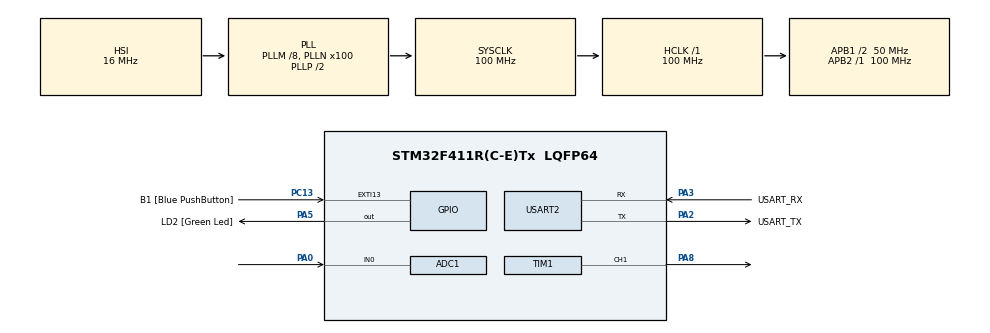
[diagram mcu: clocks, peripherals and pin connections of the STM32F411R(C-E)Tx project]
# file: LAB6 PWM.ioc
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Mcu.Family=STM32F4
PC15-OSC32_OUT.Mode=LSE-External-Oscillator
RCC.CortexFreq_Value=100000000
ADC1.Rank-0\#ChannelRegularConversion=1
PC13-ANTI_TAMP.GPIO_Label=B1 [Blue PushButton]
PA14.GPIO_Label=TCK
PH1\ -\ OSC_OUT.Mode=HSE-External-Clock-Source
TIM11.Prescaler=99
TIM1.Pulse-PWM\ Generation1\ CH1=5000
RCC.APB1CLKDivider=RCC_HCLK_DIV2
PC14-OSC32_IN.Signal=RCC_OSC32_IN
RCC.SYSCLKSource=RCC_SYSCLKSOURCE_PLLCLK
ProjectManager.StackSize=0x400
PA0-WKUP.Signal=ADCx_IN0
VP_TIM11_VS_ClockSourceINT.Mode=Enable_Timer
PA3.Mode=Asynchronous
PA13.Signal=SYS_JTMS-SWDIO
NVIC.ADC_IRQn=true\:0\:0\:false\:false\:true\:true\:true
PH0\ -\ OSC_IN.Mode=HSE-External-Clock-Source
SH.S_TIM1_CH1.0=TIM1_CH1,PWM Generation1 CH1
PH0\ -\ OSC_IN.Signal=RCC_OSC_IN
ProjectManager.TargetToolchain=STM32CubeIDE
RCC.HCLKFreq_Value=100000000
RCC.APB2TimFreq_Value=100000000
TIM3.Period=1000
PC15-OSC32_OUT.Signal=RCC_OSC32_OUT
RCC.AHBFreq_Value=100000000
PA5.Signal=GPIO_Output
ADC1.Channel-0\#ChannelRegularConversion=ADC_CHANNEL_0
NVIC.TIM1_TRG_COM_TIM11_IRQn=true\:0\:0\:false\:false\:true\:true\:true
RCC.HSE_VALUE=8000000
PH1\ -\ OSC_OUT.Signal=RCC_OSC_OUT
board=NUCLEO-F411RE
PC13-ANTI_TAMP.Signal=GPXTI13
RCC.VCOOutputFreq_Value=200000000
RCC.APB2Freq_Value=100000000
PC14-OSC32_IN.Mode=LSE-External-Oscillator
TIM1.Channel-PWM\ Generation1\ CH1=TIM_CHANNEL_1
PA14.Mode=Serial_Wire
TIM3.Prescaler=99
PA8.Signal=S_TIM1_CH1
SH.ADCx_IN0.0=ADC1_IN0,IN0
PA13.Mode=Serial_Wire
Mcu.Name=STM32F411R(C-E)Tx
VP_TIM1_VS_ClockSourceINT.Mode=Internal
ADC1.SamplingTime-0\#ChannelRegularConversion=ADC_SAMPLETIME_3CYCLES
PA2.Signal=USART2_TX
PA13.GPIO_Label=TMS
RCC.FLatency-AdvancedSettings=FLASH_LATENCY_3
RCC.48MHZClocksFreq_Value=50000000
PB3.Signal=SYS_JTDO-SWO
RCC.SYSCLKFreq_VALUE=100000000
Mcu.Package=LQFP64
ADC1.master=1
PA5.GPIO_Label=LD2 [Green Led]
USART2.VirtualMode=VM_ASYNC
PC13-ANTI_TAMP.GPIO_ModeDefaultEXTI=GPIO_MODE_IT_FALLING
PA2.GPIO_Label=USART_TX
PA14.Signal=SYS_JTCK-SWCLK
ProjectManager.HeapSize=0x200
RCC.HSI_VALUE=16000000
NVIC.PriorityGroup=NVIC_PRIORITYGROUP_0
ADC1.NbrOfConversionFlag=1
RCC.PLLM=8
RCC.PLLN=100
RCC.APB1TimFreq_Value=100000000
PA2.Mode=Asynchronous
TIM1.Period=10000
RCC.APB1Freq_Value=50000000
VP_TIM3_VS_ClockSourceINT.Mode=Internal
PA3.GPIO_Label=USART_RX
PA3.Signal=USART2_RX
PB3.GPIO_Label=SWO

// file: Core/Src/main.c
/* USER CODE BEGIN Header */
/**
 ******************************************************************************
 * @file           : main.c
 * @brief          : Main program body
 ******************************************************************************
 * @attention
 *
 * <h2><center>&copy; Copyright (c) 2021 STMicroelectronics.
 * All rights reserved.</center></h2>
 *
 * This software component is licensed by ST under BSD 3-Clause license,
 * the "License"; You may not use this file except in compliance with the
 * License. You may obtain a copy of the License at:
 *                        opensource.org/licenses/BSD-3-Clause
 *
 ******************************************************************************
 */
/* USER CODE END Header */
#include "main.h"

ADC_HandleTypeDef hadc1;

TIM_HandleTypeDef htim1;
TIM_HandleTypeDef htim3;
TIM_HandleTypeDef htim11;

UART_HandleTypeDef huart2;

/* USER CODE BEGIN PV */

uint8_t ADCUpdateFlag = 0;
uint16_t ADCFeedBack = 0;

uint16_t PWMOut = 3000;

uint64_t _micro = 0;
uint64_t TimeOutputLoop = 0;

float ADCOutputConverted = 0;
/* USER CODE END PV */

void SystemClock_Config(void);
static void MX_GPIO_Init(void);
static void MX_USART2_UART_Init(void);
static void MX_ADC1_Init(void);
static void MX_TIM1_Init(void);
static void MX_TIM3_Init(void);
static void MX_TIM11_Init(void);
/* USER CODE BEGIN PFP */
uint64_t micros();
/* USER CODE END PFP */

int main(void)
{

  /* MCU Configuration--------------------------------------------------------*/

  /* Reset of all peripherals, Initializes the Flash interface and the Systick. */
  HAL_Init();

  /* Configure the system clock */
  SystemClock_Config();

  /* Initialize all configured peripherals */
  MX_GPIO_Init();
  MX_USART2_UART_Init();
  MX_ADC1_Init();
  MX_TIM1_Init();
  MX_TIM3_Init();
  MX_TIM11_Init();
  /* USER CODE BEGIN 2 */
	HAL_ADC_Start_IT(&hadc1);
	HAL_TIM_Base_Start(&htim3);

	HAL_TIM_Base_Start(&htim1);
	HAL_TIM_PWM_Start(&htim1, TIM_CHANNEL_1);

	HAL_TIM_Base_Start_IT(&htim11);

  /* USER CODE END 2 */

  /* Infinite loop */
	while (1) {

    /* USER CODE BEGIN 3 */

		//1 Khz Loop
		if (micros() - TimeOutputLoop >= 1000)
		{
			TimeOutputLoop = micros();
			// #001

			__HAL_TIM_SET_COMPARE(&htim1, TIM_CHANNEL_1, PWMOut);
			Control_PWM();
		}

		if (ADCUpdateFlag)
		{
			ADCUpdateFlag = 0;
			//#002
		}

	}
  /* USER CODE END 3 */
}

void SystemClock_Config(void)
{
  RCC_OscInitTypeDef RCC_OscInitStruct = {0};
  RCC_ClkInitTypeDef RCC_ClkInitStruct = {0};

  /** Configure the main internal regulator output voltage
  */
  __HAL_RCC_PWR_CLK_ENABLE();
  __HAL_PWR_VOLTAGESCALING_CONFIG(PWR_REGULATOR_VOLTAGE_SCALE1);
  /** Initializes the RCC Oscillators according to the specified parameters
  * in the RCC_OscInitTypeDef structure.
  */
  RCC_OscInitStruct.OscillatorType = RCC_OSCILLATORTYPE_HSI;
  RCC_OscInitStruct.HSIState = RCC_HSI_ON;
  RCC_OscInitStruct.HSICalibrationValue = RCC_HSICALIBRATION_DEFAULT;
  RCC_OscInitStruct.PLL.PLLState = RCC_PLL_ON;
  RCC_OscInitStruct.PLL.PLLSource = RCC_PLLSOURCE_HSI;
  RCC_OscInitStruct.PLL.PLLM = 8;
  RCC_OscInitStruct.PLL.PLLN = 100;
  RCC_OscInitStruct.PLL.PLLP = RCC_PLLP_DIV2;
  RCC_OscInitStruct.PLL.PLLQ = 4;
  if (HAL_RCC_OscConfig(&RCC_OscInitStruct) != HAL_OK)
  {
    Error_Handler();
  }
  /** Initializes the CPU, AHB and APB buses clocks
  */
  RCC_ClkInitStruct.ClockType = RCC_CLOCKTYPE_HCLK|RCC_CLOCKTYPE_SYSCLK
                              |RCC_CLOCKTYPE_PCLK1|RCC_CLOCKTYPE_PCLK2;
  RCC_ClkInitStruct.SYSCLKSource = RCC_SYSCLKSOURCE_PLLCLK;
  RCC_ClkInitStruct.AHBCLKDivider = RCC_SYSCLK_DIV1;
  RCC_ClkInitStruct.APB1CLKDivider = RCC_HCLK_DIV2;
  RCC_ClkInitStruct.APB2CLKDivider = RCC_HCLK_DIV1;

  if (HAL_RCC_ClockConfig(&RCC_ClkInitStruct, FLASH_LATENCY_3) != HAL_OK)
  {
    Error_Handler();
  }
}

static void MX_ADC1_Init(void)
{

  ADC_ChannelConfTypeDef sConfig = {0};

  /** Configure the global features of the ADC (Clock, Resolution, Data Alignment and number of conversion)
  */
  hadc1.Instance = ADC1;
  hadc1.Init.ClockPrescaler = ADC_CLOCK_SYNC_PCLK_DIV4;
  hadc1.Init.Resolution = ADC_RESOLUTION_12B;
  hadc1.Init.ScanConvMode = DISABLE;
  hadc1.Init.ContinuousConvMode = DISABLE;
  hadc1.Init.DiscontinuousConvMode = DISABLE;
  hadc1.Init.ExternalTrigConvEdge = ADC_EXTERNALTRIGCONVEDGE_RISING;
  hadc1.Init.ExternalTrigConv = ADC_EXTERNALTRIGCONV_T3_TRGO;
  hadc1.Init.DataAlign = ADC_DATAALIGN_RIGHT;
  hadc1.Init.NbrOfConversion = 1;
  hadc1.Init.DMAContinuousRequests = DISABLE;
  hadc1.Init.EOCSelection = ADC_EOC_SINGLE_CONV;
  if (HAL_ADC_Init(&hadc1) != HAL_OK)
  {
    Error_Handler();
  }
  /** Configure for the selected ADC regular channel its corresponding rank in the sequencer and its sample time.
  */
  sConfig.Channel = ADC_CHANNEL_0;
  sConfig.Rank = 1;
  sConfig.SamplingTime = ADC_SAMPLETIME_480CYCLES;
  if (HAL_ADC_ConfigChannel(&hadc1, &sConfig) != HAL_OK)
  {
    Error_Handler();
  }

}

static void MX_TIM1_Init(void)
{

  TIM_ClockConfigTypeDef sClockSourceConfig = {0};
  TIM_MasterConfigTypeDef sMasterConfig = {0};
  TIM_OC_InitTypeDef sConfigOC = {0};
  TIM_BreakDeadTimeConfigTypeDef sBreakDeadTimeConfig = {0};

  htim1.Instance = TIM1;
  htim1.Init.Prescaler = 0;
  htim1.Init.CounterMode = TIM_COUNTERMODE_UP;
  htim1.Init.Period = 10000;
  htim1.Init.ClockDivision = TIM_CLOCKDIVISION_DIV1;
  htim1.Init.RepetitionCounter = 0;
  htim1.Init.AutoReloadPreload = TIM_AUTORELOAD_PRELOAD_DISABLE;
  if (HAL_TIM_Base_Init(&htim1) != HAL_OK)
  {
    Error_Handler();
  }
  sClockSourceConfig.ClockSource = TIM_CLOCKSOURCE_INTERNAL;
  if (HAL_TIM_ConfigClockSource(&htim1, &sClockSourceConfig) != HAL_OK)
  {
    Error_Handler();
  }
  if (HAL_TIM_PWM_Init(&htim1) != HAL_OK)
  {
    Error_Handler();
  }
  sMasterConfig.MasterOutputTrigger = TIM_TRGO_RESET;
  sMasterConfig.MasterSlaveMode = TIM_MASTERSLAVEMODE_DISABLE;
  if (HAL_TIMEx_MasterConfigSynchronization(&htim1, &sMasterConfig) != HAL_OK)
  {
    Error_Handler();
  }
  sConfigOC.OCMode = TIM_OCMODE_PWM1;
  sConfigOC.Pulse = 5000;
  sConfigOC.OCPolarity = TIM_OCPOLARITY_HIGH;
  sConfigOC.OCNPolarity = TIM_OCNPOLARITY_HIGH;
  sConfigOC.OCFastMode = TIM_OCFAST_DISABLE;
  sConfigOC.OCIdleState = TIM_OCIDLESTATE_RESET;
  sConfigOC.OCNIdleState = TIM_OCNIDLESTATE_RESET;
  if (HAL_TIM_PWM_ConfigChannel(&htim1, &sConfigOC, TIM_CHANNEL_1) != HAL_OK)
  {
    Error_Handler();
  }
  sBreakDeadTimeConfig.OffStateRunMode = TIM_OSSR_DISABLE;
  sBreakDeadTimeConfig.OffStateIDLEMode = TIM_OSSI_DISABLE;
  sBreakDeadTimeConfig.LockLevel = TIM_LOCKLEVEL_OFF;
  sBreakDeadTimeConfig.DeadTime = 0;
  sBreakDeadTimeConfig.BreakState = TIM_BREAK_DISABLE;
  sBreakDeadTimeConfig.BreakPolarity = TIM_BREAKPOLARITY_HIGH;
  sBreakDeadTimeConfig.AutomaticOutput = TIM_AUTOMATICOUTPUT_DISABLE;
  if (HAL_TIMEx_ConfigBreakDeadTime(&htim1, &sBreakDeadTimeConfig) != HAL_OK)
  {
    Error_Handler();
  }
  HAL_TIM_MspPostInit(&htim1);

}

static void MX_TIM3_Init(void)
{

  TIM_ClockConfigTypeDef sClockSourceConfig = {0};
  TIM_MasterConfigTypeDef sMasterConfig = {0};

  htim3.Instance = TIM3;
  htim3.Init.Prescaler = 99;
  htim3.Init.CounterMode = TIM_COUNTERMODE_UP;
  htim3.Init.Period = 1000;
  htim3.Init.ClockDivision = TIM_CLOCKDIVISION_DIV1;
  htim3.Init.AutoReloadPreload = TIM_AUTORELOAD_PRELOAD_DISABLE;
  if (HAL_TIM_Base_Init(&htim3) != HAL_OK)
  {
    Error_Handler();
  }
  sClockSourceConfig.ClockSource = TIM_CLOCKSOURCE_INTERNAL;
  if (HAL_TIM_ConfigClockSource(&htim3, &sClockSourceConfig) != HAL_OK)
  {
    Error_Handler();
  }
  sMasterConfig.MasterOutputTrigger = TIM_TRGO_UPDATE;
  sMasterConfig.MasterSlaveMode = TIM_MASTERSLAVEMODE_DISABLE;
  if (HAL_TIMEx_MasterConfigSynchronization(&htim3, &sMasterConfig) != HAL_OK)
  {
    Error_Handler();
  }

}

static void MX_TIM11_Init(void)
{

  htim11.Instance = TIM11;
  htim11.Init.Prescaler = 99;
  htim11.Init.CounterMode = TIM_COUNTERMODE_UP;
  htim11.Init.Period = 65535;
  htim11.Init.ClockDivision = TIM_CLOCKDIVISION_DIV1;
  htim11.Init.AutoReloadPreload = TIM_AUTORELOAD_PRELOAD_DISABLE;
  if (HAL_TIM_Base_Init(&htim11) != HAL_OK)
  {
    Error_Handler();
  }

}

static void MX_USART2_UART_Init(void)
{

  huart2.Instance = USART2;
  huart2.Init.BaudRate = 115200;
  huart2.Init.WordLength = UART_WORDLENGTH_8B;
  huart2.Init.StopBits = UART_STOPBITS_1;
  huart2.Init.Parity = UART_PARITY_NONE;
  huart2.Init.Mode = UART_MODE_TX_RX;
  huart2.Init.HwFlowCtl = UART_HWCONTROL_NONE;
  huart2.Init.OverSampling = UART_OVERSAMPLING_16;
  if (HAL_UART_Init(&huart2) != HAL_OK)
  {
    Error_Handler();
  }

}

static void MX_GPIO_Init(void)
{
  GPIO_InitTypeDef GPIO_InitStruct = {0};

  /* GPIO Ports Clock Enable */
  __HAL_RCC_GPIOC_CLK_ENABLE();
  __HAL_RCC_GPIOH_CLK_ENABLE();
  __HAL_RCC_GPIOA_CLK_ENABLE();
  __HAL_RCC_GPIOB_CLK_ENABLE();

  /*Configure GPIO pin Output Level */
  HAL_GPIO_WritePin(LD2_GPIO_Port, LD2_Pin, GPIO_PIN_RESET);

  /*Configure GPIO pin : B1_Pin */
  GPIO_InitStruct.Pin = B1_Pin;
  GPIO_InitStruct.Mode = GPIO_MODE_IT_FALLING;
  GPIO_InitStruct.Pull = GPIO_NOPULL;
  HAL_GPIO_Init(B1_GPIO_Port, &GPIO_InitStruct);

  /*Configure GPIO pin : LD2_Pin */
  GPIO_InitStruct.Pin = LD2_Pin;
  GPIO_InitStruct.Mode = GPIO_MODE_OUTPUT_PP;
  GPIO_InitStruct.Pull = GPIO_NOPULL;
  GPIO_InitStruct.Speed = GPIO_SPEED_FREQ_LOW;
  HAL_GPIO_Init(LD2_GPIO_Port, &GPIO_InitStruct);

}

/* USER CODE BEGIN 4 */
float Kp = 6 , Ki = 4 , Kd = 3;
void Control_PWM()
{
	static float Error , SumError ,PreError;

	ADCOutputConverted = (((ADCFeedBack * 3.3) / 4096) * 1000); //mV
	Error = 1000 - ADCOutputConverted;
	SumError += Error;
	PWMOut = Kp*Error + Ki*SumError + Kd*(Error-PreError);
	PreError = Error;
}

void HAL_ADC_ConvCpltCallback(ADC_HandleTypeDef *hadc) {
	ADCFeedBack = HAL_ADC_GetValue(&hadc1);
	ADCUpdateFlag = 1;
}
void HAL_TIM_PeriodElapsedCallback(TIM_HandleTypeDef *htim) {
	if (htim == &htim11) {
		_micro += 65535;
	}
}

__inline__ uint64_t micros() {
	return _micro + htim11.Instance->CNT;
}
/* USER CODE END 4 */

void Error_Handler(void)
{
	__disable_irq();
	while (1) {
	}
}

/************************ (C) COPYRIGHT STMicroelectronics *****END OF FILE****/
